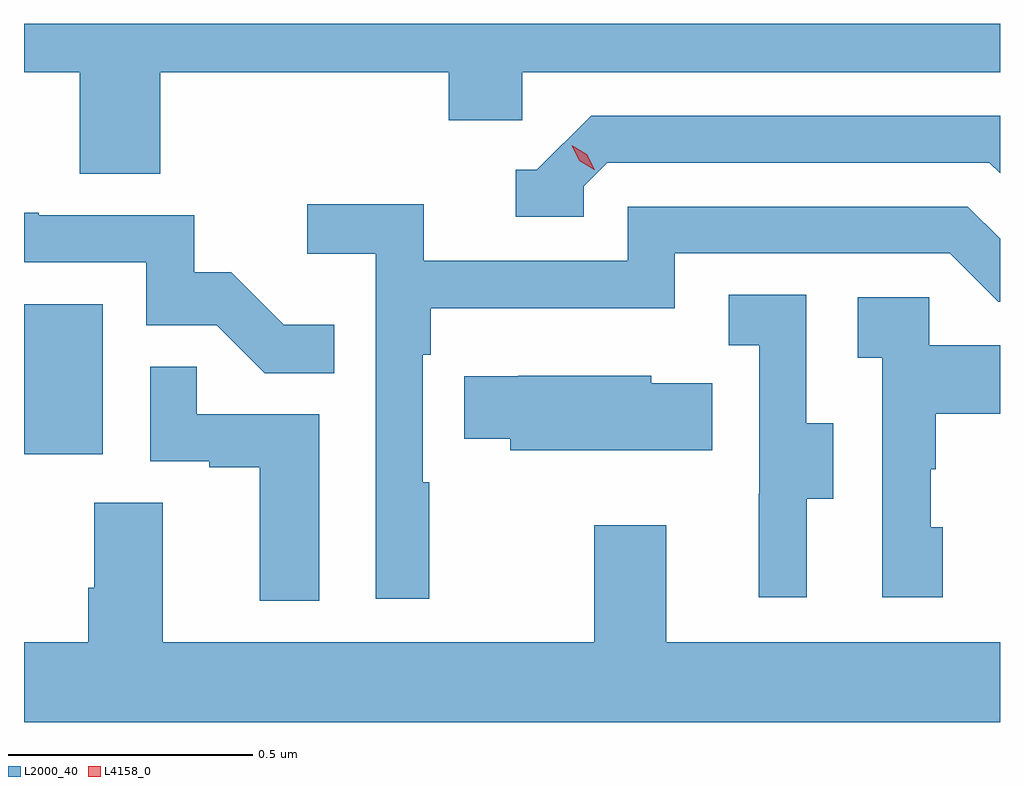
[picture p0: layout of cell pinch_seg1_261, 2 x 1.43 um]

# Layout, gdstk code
import gdstk
lib = gdstk.Library(unit=1e-6, precision=1e-09)
def R(c, l, rs):  # rectangles x0, y0, x1, y1
    for r in rs: c.add(gdstk.rectangle(r[:2], r[2:], *l))
def P(c, l, *ps):  # polygons
    for p in ps: c.add(gdstk.Polygon(p, *l))
L2000_40 = (2000, 40)
L4158_0 = (4158, 0)

pinch_seg1_261 = lib.new_cell('pinch_seg1_261')
R(pinch_seg1_261, L2000_40, [(925.895,582.918,926.056,583.225)])
P(pinch_seg1_261, L2000_40, [(926.174,583.7),(926.765,583.7),(926.765,583.602),(926.916,583.602),(926.916,583.7),(927.895,583.7),(927.895,583.8),(925.895,583.8),(925.895,583.7),(926.009,583.7),(926.009,583.492),(926.174,583.492)],
  [(927.042,583.467),(927.09,583.515),(927.873,583.515),(927.895,583.493),(927.895,583.611),(927.057,583.611),(926.946,583.5),(926.903,583.5),(926.903,583.404),(927.042,583.404)],
  [(926.725,582.86),(926.712,582.86),(926.712,583.121),(926.729,583.121),(926.729,583.217),(927.228,583.217),(927.228,583.329),(927.792,583.329),(927.891,583.23),(927.895,583.23),(927.895,583.359),(927.829,583.425),(927.132,583.425),(927.132,583.314),(926.714,583.314),(926.714,583.43),(926.475,583.43),(926.475,583.328),(926.616,583.328),(926.616,582.621),(926.725,582.621)],
  [(926.531,583.183),(926.427,583.183),(926.32,583.29),(926.244,583.29),(926.244,583.407),(925.925,583.407),(925.925,583.412),(925.895,583.412),(925.895,583.311),(926.145,583.311),(926.145,583.182),(926.29,583.182),(926.388,583.084),(926.531,583.084)],
  [(927.499,582.826),(927.553,582.826),(927.553,582.981),(927.498,582.981),(927.498,583.244),(927.339,583.244),(927.339,583.141),(927.402,583.141),(927.402,582.837),(927.401,582.837),(927.401,582.624),(927.499,582.624)],
  [(927.778,582.768),(927.753,582.768),(927.753,582.887),(927.763,582.887),(927.763,583.001),(927.895,583.001),(927.895,583.141),(927.75,583.141),(927.75,583.239),(927.603,583.239),(927.603,583.115),(927.654,583.115),(927.654,582.624),(927.778,582.624)],
  [(926.5,582.999),(926.249,582.999),(926.249,583.097),(926.154,583.097),(926.154,582.903),(926.275,582.903),(926.275,582.891),(926.378,582.891),(926.378,582.617),(926.5,582.617)],
  [(927.305,583.063),(927.18,583.063),(927.18,583.078),(926.908,583.078),(926.908,583.077),(926.797,583.077),(926.797,582.949),(926.891,582.949),(926.891,582.926),(927.305,582.926)],
  [(927.895,582.532),(927.211,582.532),(927.211,582.772),(927.064,582.772),(927.064,582.532),(926.179,582.532),(926.179,582.818),(926.039,582.818),(926.039,582.644),(926.027,582.644),(926.027,582.532),(925.895,582.532),(925.895,582.368),(927.895,582.368)])
P(pinch_seg1_261, L4158_0, [(927.064,583.5),(927.033,583.519),(927.017,583.551),(927.017,583.551),(927.017,583.551),(927.048,583.532),(927.065,583.5),(927.065,583.5)])

lib.write_gds('pinch_seg1_261.gds')
